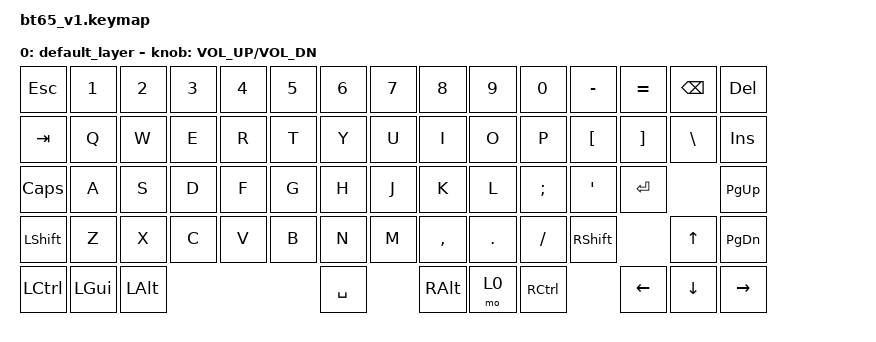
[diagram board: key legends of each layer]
#include <behaviors.dtsi>
#include <dt-bindings/zmk/keys.h>

#define ANSI

//#define ISO
//#define ALL_1U
//#define HHKB

/ {
    chosen {
        #ifdef ANSI

        zmk,physical-layout = &layout_65_ansi;

        #elif defined(ISO)

        zmk,physical-layout = &layout_65_iso;

        #elif defined(ALL_1U)

        zmk,physical-layout = &layout_65_all1u;

        #elif defined(HHKB)

        zmk,physical-layout = &layout_65_hhkb;

        #else
  #error "Layout not defined, please define a layout by uncommenting the appropriate line in bt65_v1.keymap"
  #endif
    };

    keymap {
        compatible = "zmk,keymap";

        #ifdef ANSI

        default_layer {
            // ------------------------------------------------------------------------------------------------
            // | ESC |  1  |  2  |  3  |  4  |  5  |  6  |  7  |  8  |  9  |  0  |  -  |  =  |   BSPC   | DEL |
            // | TAB   |  Q  |  W  |  E  |  R  |  T  |  Y  |  U  |  I  |  O  |  P  |  [  |  ]  |   \    | INS |
            // | CAPS   |  A  |  S  |  D  |  F  |  G  |  H  |  J  |  K  |  L  |  ;  |  '  |    ENTER    | PGUP|
            // |  SHIFT   |  Z  |  X  |  C  |  V  |  B  |  N  |  M  |  ,  |  .  |  /  |   SHIFT   | UP  | PGDN|
            // |  CTL  |  WIN  |  ALT  |             SPACE                | ALT |  1  |RCTRL| LEFT| DOWN|RIGHT|
            // ------------------------------------------------------------------------------------------------

            bindings = <
&kp ESC    &kp N1    &kp N2    &kp N3  &kp N4  &kp N5  &kp N6     &kp N7  &kp N8     &kp N9   &kp N0     &kp MINUS  &kp EQUAL  &kp BSPC  &kp DEL
&kp TAB    &kp Q     &kp W     &kp E   &kp R   &kp T   &kp Y      &kp U   &kp I      &kp O    &kp P      &kp LBKT   &kp RBKT   &kp BSLH  &kp INS
&kp CLCK   &kp A     &kp S     &kp D   &kp F   &kp G   &kp H      &kp J   &kp K      &kp L    &kp SEMI   &kp SQT    &kp RET              &kp PG_UP
&kp LSHFT  &kp Z     &kp X     &kp C   &kp V   &kp B   &kp N      &kp M   &kp COMMA  &kp DOT  &kp FSLH   &kp RSHFT             &kp UP    &kp PG_DN
&kp LCTRL  &kp LGUI  &kp LALT                          &kp SPACE          &kp RALT   &mo 0    &kp RCTRL             &kp LEFT   &kp DOWN  &kp RIGHT
            >;

            sensor-bindings = <&inc_dec_kp C_VOL_UP C_VOL_DN>;
        };

        #elif defined(ISO)
    #elif defined(ALL_1U)
    #elif defined(HHKB)
    #else
    #error "Layout not defined, please define a layout by uncommenting the appropriate line in bt65_v1.keymap"
    #

        endif
    };
};
